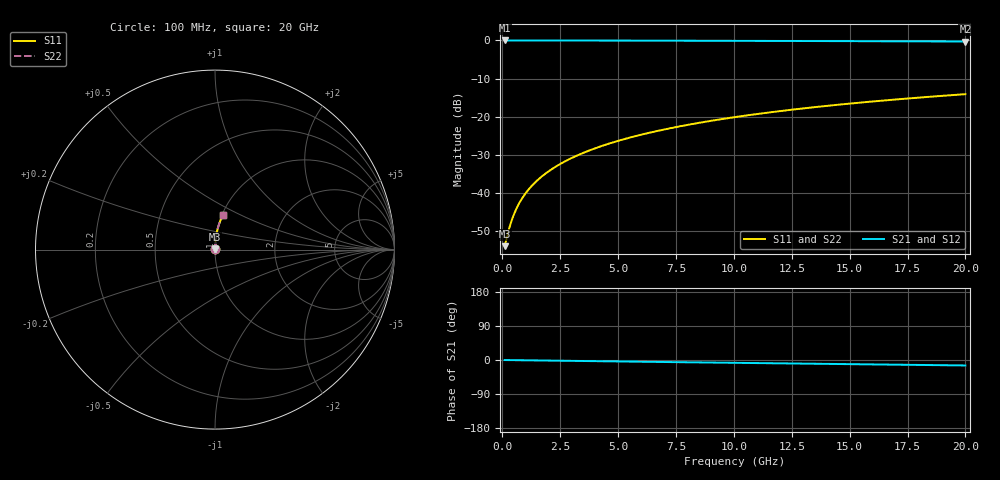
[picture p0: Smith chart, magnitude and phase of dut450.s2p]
! Touchstone file exported from HFSS 2024.1.0
!  File:  C:/UserFiles/LocalFiles/RDL_TSV_Batchsim/temp_RDL_top_450_1779677115.aedt
!  Generated:  10:47:30 AM May 25, 2026
!  Design:  RDL_top
!  Project:  temp_RDL_top_450_1779677115
!  Setup:  Setup1
!  Solution:  Sweep
! Variables:
!  dtsv = 10.80580581um
!  hbump = 3um
!  htsv = 51.79um
!  ldown = 100um
!  lrdl = 129.25um
!  p = 40
!  p1 = 52.9um
!  rhole = 1um
!  t = 450um
!  tdown = 3.915915916um
!  trdl = 2.19um
!  wdown = 15.38538539um
!  wrdl = 14.45um
# GHz S MA R 50.000000
! Terminal data exported
! Port[1] = Box2_T1
! Port[2] = Box2_T2
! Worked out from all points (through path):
!   200 points, 100 MHz to 20 GHz, reference 50 ohm
!   highest |S21| = -0.02 dB at 100 MHz (marker M1); lowest = -0.3 dB at 20 GHz (marker M2)
!   group delay of S21, straight-line fit = 1.99 ps
!   lowest |S11| = -53.9 dB at 100 MHz (marker M3), VSWR 1.00, Z = 50.2 + j0.0999 ohm
!   |S11| at or under -10 dB: start of sweep to end of sweep
!   |S22| runs from -53.9 to -14.1 dB; largest |S21 - S12| = 2.7e-15
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0.1  0.002029 29.4  0.9982 -0.1  0.9982 -0.1  0.002029 29.4
! Gamma 0 0 0 0
! Port Impedance 50 0 50 0
0.3  0.00348 58.7  0.9982 -0.2  0.9982 -0.2  0.00348 58.7
0.4  0.004359 65.1  0.9981 -0.3  0.9981 -0.3  0.004359 65.1
0.5  0.005268 69.2  0.9981 -0.4  0.9981 -0.4  0.005268 69.2
0.6  0.006191 72.1  0.9981 -0.5  0.9981 -0.5  0.006191 72.1
0.7  0.00712 74.2  0.998 -0.6  0.998 -0.6  0.00712 74.2
0.9  0.008988 77.2  0.9979 -0.7  0.9979 -0.7  0.008988 77.2
1.2  0.0118 79.8  0.9978 -0.9  0.9978 -0.9  0.0118 79.8
1.4  0.01368 81.0  0.9977 -1.1  0.9977 -1.1  0.01368 81.0
1.7  0.01651 82.3  0.9975 -1.3  0.9975 -1.3  0.01651 82.3
2.2  0.02126 83.7  0.9972 -1.7  0.9972 -1.7  0.02126 83.7
2.8  0.02701 84.7  0.9967 -2.2  0.9967 -2.2  0.02701 84.7
3.5  0.03377 85.3  0.9961 -2.7  0.9961 -2.7  0.03377 85.3
4.2  0.04059 85.6  0.9954 -3.2  0.9954 -3.2  0.04059 85.6
5  0.04845 85.7  0.9945 -3.8  0.9945 -3.8  0.04845 85.7
5.9  0.05737 85.6  0.9933 -4.5  0.9933 -4.5  0.05737 85.6
6.8  0.06636 85.4  0.9921 -5.2  0.9921 -5.2  0.06636 85.4
8.3  0.08145 84.8  0.9898 -6.3  0.9898 -6.3  0.08145 84.8
10.1  0.09965 83.8  0.9869 -7.5  0.9869 -7.5  0.09965 83.8
13.4  0.1329 81.7  0.9809 -9.9  0.9809 -9.9  0.1329 81.7
16.7  0.1658 79.4  0.9742 -12.2  0.9742 -12.2  0.1658 79.4
20  0.1979 77.0  0.9669 -14.4  0.9669 -14.4  0.1979 77.0
